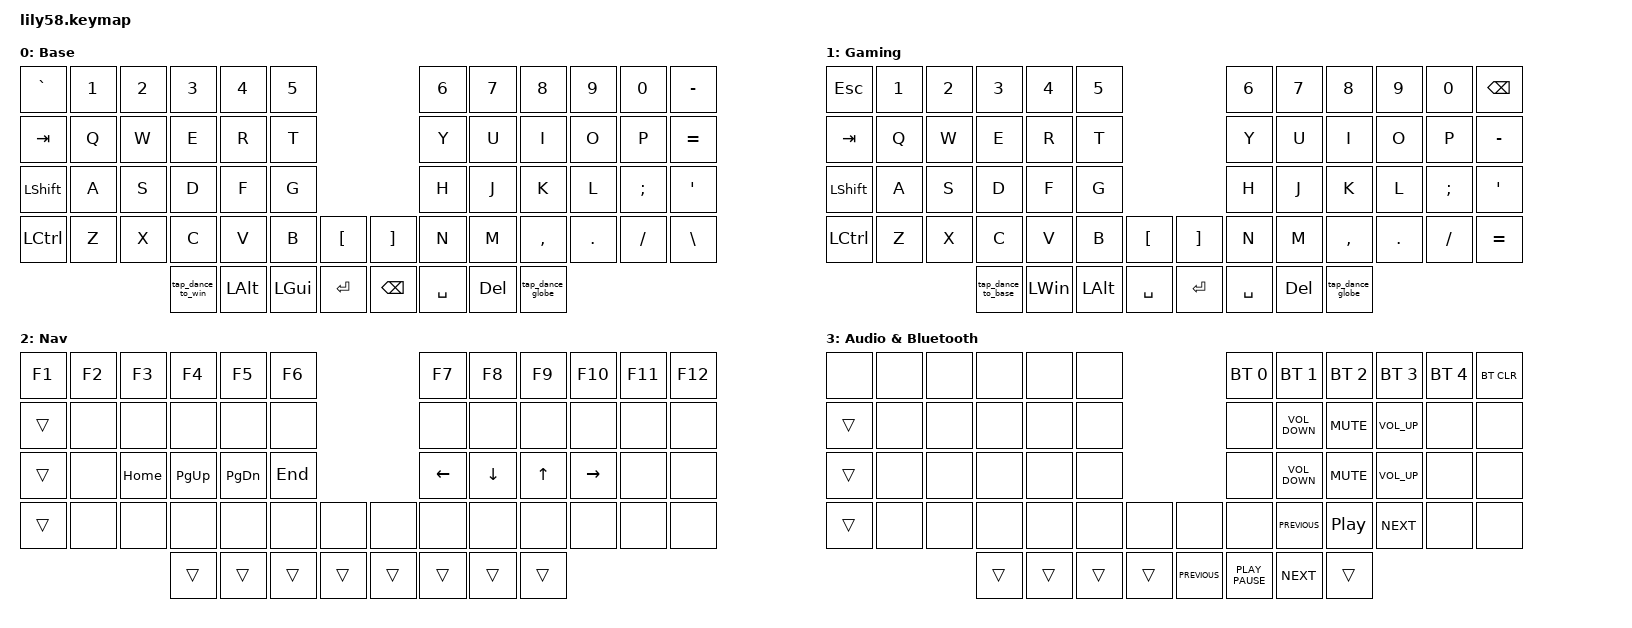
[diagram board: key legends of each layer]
/*
 * Copyright (c) 2020 The ZMK Contributors
 *
 * SPDX-License-Identifier: MIT
 */

#include <behaviors.dtsi>
#include <dt-bindings/zmk/bt.h>
#include <dt-bindings/zmk/keys.h>

&mmv {
    time-to-max-speed-ms = <200>;
    acceleration-exponent = <1>;
};

/ {
    combos {
        compatible = "zmk,combos";

        Esc {
            bindings = <&kp ESC>;
            key-positions = <28 31>;
            layers = <0>;
        };

        l_nav {
            bindings = <&mo 2>;
            key-positions = <27 28>;
            layers = <0>;
        };

        r_nav {
            bindings = <&mo 2>;
            key-positions = <31 32>;
            layers = <0>;
        };

        /*
*        l_gui {
*            bindings = <&kp LEFT_GUI>;
*            key-positions = <27 28>;
*            layers = <0 1 2 3>;
*        };
*
*        r_gui {
*            bindings = <&kp RIGHT_GUI>;
*            key-positions = <31 32>;
*            layers = <0 1 2 3>;
*        };
*
*        l_alt {
*            bindings = <&kp LEFT_ALT>;
*            key-positions = <26 27>;
*            layers = <0 1 2 3>;
*        };
*
*        r_alt {
*            bindings = <&kp RIGHT_ALT>;
*            key-positions = <32 33>;
*            layers = <0 1 2 3>;
*        };
*
*        l_ctl {
*            bindings = <&kp LCTRL>;
*            key-positions = <25 26>;
*            layers = <0 1 2 3>;
*        };
*
*        r_ctl {
*            bindings = <&kp RCTRL>;
*            key-positions = <33 34>;
*            layers = <0 1 2 3>;
*        };
*
*        l_gui_alt {
*            bindings = <&kp LA(LGUI)>;
*            key-positions = <26 27 28>;
*            layers = <0 1 2 3>;
*        };
*
*        r_gui_alt {
*            bindings = <&kp RA(RGUI)>;
*            key-positions = <31 32 33>;
*            layers = <0 1 2 3>;
*        };
*
*        l_gui_ctl {
*            bindings = <&kp LC(LEFT_GUI)>;
*            key-positions = <25 26 27>;
*            layers = <0 1 2 3>;
*        };
*
*        r_gui_ctl {
*            bindings = <&kp RC(RIGHT_GUI)>;
*            key-positions = <32 33 34>;
*            layers = <0 1 2 3>;
*        };
*
*        l_gui_ctl_alt {
*            bindings = <&kp LA(LC(LEFT_GUI))>;
*            key-positions = <25 27 28>;
*            layers = <0 1 2 3>;
*        };
*
*        r_gui_ctl_alt {
*            bindings = <&kp RC(RA(RIGHT_GUI))>;
*            key-positions = <32 31 34>;
*            layers = <0 1 2 3>;
*        };
*/

        audio_bt {
            bindings = <&mo 3>;
            key-positions = <37 38 39 40>;
            layers = <0 1>;
        };
    };

    behaviors {
        tap_dance_globe: tap_dance_globe {
            compatible = "zmk,behavior-tap-dance";
            label = "TAP_DANCE_GLOBE";
            #binding-cells = <0>;
            bindings = <&kp GLOBE>, <&tog 2>;

            tapping-term-ms = <250>;
        };

        tap_dance_to_win: tap_dance_to_win {
            compatible = "zmk,behavior-tap-dance";
            label = "TAP_DANCE_TO_WIN";
            #binding-cells = <0>;
            bindings = <&kp C_AC_NEXT_KEYBOARD_LAYOUT_SELECT>, <&to 1>;

            tapping-term-ms = <250>;
        };

        tap_dance_to_base: tap_dance_to_base {
            compatible = "zmk,behavior-tap-dance";
            label = "TAP_DANCE_TO_BASE";
            #binding-cells = <0>;
            bindings = <&kp C_AC_NEXT_KEYBOARD_LAYOUT_SELECT>, <&to 0>;

            tapping-term-ms = <250>;
        };
    };

    keymap {
        compatible = "zmk,keymap";

        default_layer {
            display-name = "Base";
            bindings = <
&kp GRAVE       &kp N1  &kp N2  &kp N3             &kp N4    &kp N5                                   &kp N6     &kp N7   &kp N8            &kp N9   &kp N0    &kp MINUS
&kp TAB         &kp Q   &kp W   &kp E              &kp R     &kp T                                    &kp Y      &kp U    &kp I             &kp O    &kp P     &kp EQUAL
&kp LEFT_SHIFT  &kp A   &kp S   &kp D              &kp F     &kp G                                    &kp H      &kp J    &kp K             &kp L    &kp SEMI  &kp SQT
&kp LCTRL       &kp Z   &kp X   &kp C              &kp V     &kp B         &kp LBKT    &kp RBKT       &kp N      &kp M    &kp COMMA         &kp DOT  &kp FSLH  &kp BACKSLASH
                                &tap_dance_to_win  &kp LALT  &kp LEFT_GUI  &kp RET     &kp BACKSPACE  &kp SPACE  &kp DEL  &tap_dance_globe
            >;
        };

        gaming_layer {
            display-name = "Gaming";
            bindings = <
&kp ESCAPE      &kp N1  &kp N2  &kp N3              &kp N4        &kp N5                               &kp N6     &kp N7   &kp N8            &kp N9   &kp N0    &kp BACKSPACE
&kp TAB         &kp Q   &kp W   &kp E               &kp R         &kp T                                &kp Y      &kp U    &kp I             &kp O    &kp P     &kp MINUS
&kp LEFT_SHIFT  &kp A   &kp S   &kp D               &kp F         &kp G                                &kp H      &kp J    &kp K             &kp L    &kp SEMI  &kp SQT
&kp LCTRL       &kp Z   &kp X   &kp C               &kp V         &kp B         &kp LBKT     &kp RBKT  &kp N      &kp M    &kp COMMA         &kp DOT  &kp FSLH  &kp EQUAL
                                &tap_dance_to_base  &kp LEFT_WIN  &kp LEFT_ALT  &kp SPACE    &kp RET   &kp SPACE  &kp DEL  &tap_dance_globe
            >;
        };

        nav_layer {
            // ------------------------------------------------------------------------------------------------------------
            // | BTCLR | BT1 | BT2 |  BT3 |  BT4 |  BT5 |                   |      |       |       |      |       |       |
            // |  F1   |  F2 |  F3 |  F4  |  F5  |  F6  |                   |  F7  |  F8   |  F9   |  F10 |  F11  |  F12  |
            // |   `   |  !  |  @  |  #   |  $   |  %   |                   |  ^   |  &    |  *    |  (   |   )   |   ~   |
            // |       |     |     |      |      |      |        |  |       |      |  _    |  +    |  {   |   }   |  "|"  |
            //                     |      |      |      |        |  |       |      |       |       |

            display-name = "Nav";
            bindings = <
&kp F1  &kp F2  &kp F3    &kp F4     &kp F5     &kp F6                     &kp F7    &kp F8    &kp F9        &kp F10    &kp F11  &kp F12
&trans  &none   &none     &none      &none      &none                      &none     &none     &none         &none      &none    &none
&trans  &none   &kp HOME  &kp PG_UP  &kp PG_DN  &kp END                    &kp LEFT  &kp DOWN  &kp UP_ARROW  &kp RIGHT  &none    &none
&trans  &none   &none     &none      &none      &none    &none     &none   &none     &none     &none         &none      &none    &none
                          &trans     &trans     &trans   &trans    &trans  &trans    &trans    &trans
            >;
        };

        audio_bt_accessories {
            display-name = "Audio & Bluetooth";
            bindings = <
&none   &none  &none  &none   &none   &none                             &bt BT_SEL 0      &bt BT_SEL 1       &bt BT_SEL 2      &bt BT_SEL 3     &bt BT_SEL 4  &bt BT_CLR
&trans  &none  &none  &none   &none   &none                             &none             &kp K_VOLUME_DOWN  &kp K_MUTE        &kp K_VOLUME_UP  &none         &none
&trans  &none  &none  &none   &none   &none                             &none             &kp C_VOLUME_DOWN  &kp C_MUTE        &kp C_VOLUME_UP  &none         &none
&trans  &none  &none  &none   &none   &none   &none     &none           &none             &kp C_PREVIOUS     &kp C_PLAY_PAUSE  &kp C_NEXT       &none         &none
                      &trans  &trans  &trans  &trans    &kp K_PREVIOUS  &kp K_PLAY_PAUSE  &kp K_NEXT         &trans
            >;
        };
    };
};
